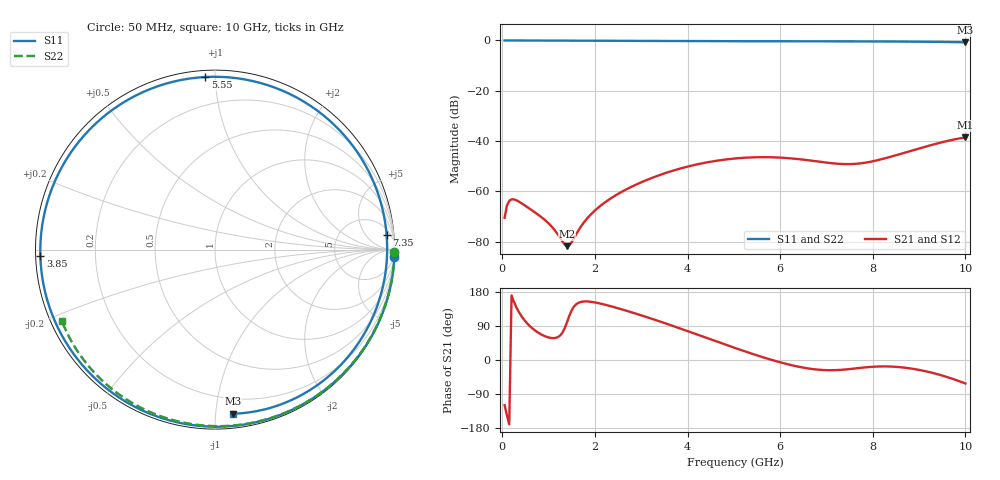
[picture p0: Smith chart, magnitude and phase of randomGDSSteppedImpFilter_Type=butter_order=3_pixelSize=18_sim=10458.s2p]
! freq	dB(S11)	phase(S11)	dB(S12)	phase(S12)
!  dB(S21)	phase(S21)	dB(S22)	phase(S22)
!S-par simulation data
#  GHz  S  DB  R 50
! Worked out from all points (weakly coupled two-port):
!   200 points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, 50 MHz to 10 GHz, reference 50 ohm
!   highest |S21| = -38.57 dB at 10 GHz (marker M1); lowest = -81.8 dB at 1.4 GHz (marker M2)
!   lowest |S11| = -0.7 dB at 10 GHz (marker M3), VSWR 23.94, Z = 4.67 - j55.5 ohm
!   |S11| at or under -10 dB: nowhere
!   |S22| runs from -0.5 to 0.0 dB; largest |S21 - S12| = 0
!   S11 on the Smith chart (normalised r, x): 50 MHz: 0, -50; 3.85 GHz: 0.01, -0.02; 5.55 GHz: 0.04, +0.94; 7.35 GHz: 10, +19; 10 GHz: 0.09, -1.11
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0.05  -0.00 -2.3  -70.56 -119.2  -70.56 -119.2  -0.00 -0.9
0.1  -0.00 -4.6  -65.70 -146.2  -65.70 -146.2  -0.00 -1.8
0.15  -0.00 -6.9  -63.84 -169.7  -63.84 -169.7  -0.00 -2.7
0.3  -0.01 -13.8  -63.55 140.0  -63.55 140.0  -0.00 -5.4
0.95  -0.05 -43.6  -71.93 61.4  -71.93 61.4  -0.02 -17.1
1.3  -0.07 -59.4  -80.01 72.4  -80.01 72.4  -0.03 -23.2
1.4  -0.08 -64.0  -81.85 100.5  -81.85 100.5  -0.03 -25.0
1.5  -0.09 -68.5  -80.18 131.6  -80.18 131.6  -0.03 -26.8
1.75  -0.10 -79.8  -72.69 154.3  -72.69 154.3  -0.04 -31.1
2.1  -0.12 -95.6  -66.07 149.4  -66.07 149.4  -0.05 -37.2
2.55  -0.15 -116.1  -60.52 134.8  -60.52 134.8  -0.06 -44.8
3.4  -0.20 -155.9  -53.54 101.8  -53.54 101.8  -0.08 -59.0
3.85  -0.23 -177.9  -50.92 82.8  -50.92 82.8  -0.09 -66.3
4.45  -0.27 151.7  -48.40 56.6  -48.40 56.6  -0.11 -75.7
5.05  -0.31 120.0  -46.92 30.7  -46.92 30.7  -0.13 -85.0
5.55  -0.33 93.2  -46.44 10.3  -46.44 10.3  -0.15 -92.5
6.1  -0.34 64.2  -46.72 -9.3  -46.72 -9.3  -0.18 -100.5
6.7  -0.35 34.2  -47.88 -24.0  -47.88 -24.0  -0.21 -109.1
7.35  -0.36 4.8  -49.17 -25.7  -49.17 -25.7  -0.26 -118.3
8.35  -0.41 -33.9  -46.46 -17.1  -46.46 -17.1  -0.34 -132.1
9.15  -0.52 -59.8  -42.19 -29.9  -42.19 -29.9  -0.42 -143.1
10  -0.73 -83.8  -38.57 -62.0  -38.57 -62.0  -0.52 -154.8
